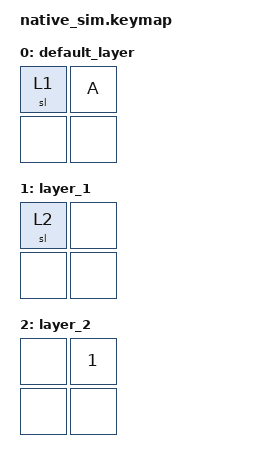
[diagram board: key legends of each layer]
#include <dt-bindings/zmk/keys.h>
#include <behaviors.dtsi>
#include <dt-bindings/zmk/kscan_mock.h>

/*
 * sticky layers should quick-release.
 * Thus, the second keypress should be on the default layer, not on the lower_layer.
 */

/ {
    keymap {
        compatible = "zmk,keymap";

        default_layer {
            bindings = <&sl 1 &kp A
                        &none &none>;
        };

        layer_1 {
            bindings = <&sl 2 &none
                        &none &none>;
        };

        layer_2 {
            bindings = <&none &kp NUM_1
                        &none &none>;
        };
    };
};

&kscan {
    events = <
              /* press sl 1 */
              ZMK_MOCK_PRESS(0,0,10)
              ZMK_MOCK_RELEASE(0,0,10)
              /* press sl 2 */
              ZMK_MOCK_PRESS(0,0,10)
              ZMK_MOCK_RELEASE(0,0,10)
              /* press 1 */
              ZMK_MOCK_PRESS(0,1,10)
              ZMK_MOCK_RELEASE(0,1,10)
              /* press A */
              ZMK_MOCK_PRESS(0,1,10)
              ZMK_MOCK_RELEASE(0,1,10)

              /* repeat test to check if cleanup is done correctly */
              /* press sl 1 */
              ZMK_MOCK_PRESS(0,0,10)
              ZMK_MOCK_RELEASE(0,0,10)
              /* press sl 2 */
              ZMK_MOCK_PRESS(0,0,10)
              ZMK_MOCK_RELEASE(0,0,10)
              /* press 1 */
              ZMK_MOCK_PRESS(0,1,10)
              ZMK_MOCK_RELEASE(0,1,10)
              /* press A */
              ZMK_MOCK_PRESS(0,1,10)
              ZMK_MOCK_RELEASE(0,1,10)>;
};
